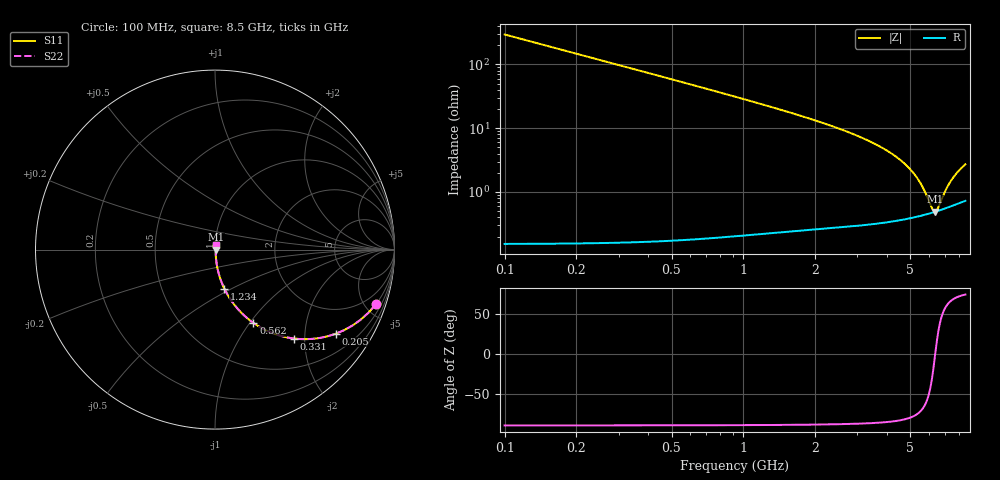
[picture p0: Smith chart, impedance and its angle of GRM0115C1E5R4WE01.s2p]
!Murata Part Number: GRM0115C1E5R4WE01
!These Parameters are Measured in Series Mode Connection
!Data Generated on Mar 30, 2021
!  o--ll--o
!Port1  Port2
!  o------o
!Operation Temp=25[degC], DC Bias Voltage=0[V]
!Freq. Start=100[MHz] Stop=9[GHz] 401[Steps]
# Hz S RI R 50
!Freq.(Hz) S11(Real) S11(Imag) S21(Real) S21(Imag) S12(Real) S12(Imag) S22(Real) S22(Imag)
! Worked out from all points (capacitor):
!   401 points, 100 MHz to 8.5 GHz, reference 50 ohm
!   read as one part in series: C = 5.4 pF near 142 MHz
!   lowest |Z| = 489 mohm at 6.337 GHz (marker M1)
!   series resonance near 6.355 GHz, so ESL is about 120 pH
!   S11 on the Smith chart (normalised r, x): 100 MHz: 1.00, -5.89; 205 MHz: 1.00, -2.87; 331 MHz: 1.00, -1.78; 562 MHz: 1.00, -1.04; 1.234 GHz: 1.00, -0.46; 8.5 GHz: 1.01, +0.05
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1e8  0.8966 -0.3042  0.1034 0.3042  0.1034 0.3042  0.8966 -0.3042
1.42e8  0.8113 -0.3909  0.1887 0.3909  0.1887 0.3909  0.8113 -0.3909
2.05e8  0.6733 -0.4685  0.3267 0.4685  0.3267 0.4685  0.6733 -0.4685
2.68e8  0.5463 -0.4971  0.4537 0.4971  0.4537 0.4971  0.5463 -0.4971
3.31e8  0.4408 -0.4956  0.5592 0.4956  0.5592 0.4956  0.4408 -0.4956
4.36e8  0.3118 -0.462  0.6882 0.462  0.6882 0.462  0.3118 -0.462
5.62e8  0.2136 -0.4081  0.7864 0.4081  0.7864 0.4081  0.2136 -0.4081
8.35e8  0.1085 -0.3082  0.8915 0.3082  0.8915 0.3082  0.1085 -0.3082
1.234e9  0.0518 -0.2169  0.9482 0.2169  0.9482 0.2169  0.0518 -0.2169
1.507e9  0.0349 -0.1772  0.9651 0.1772  0.9651 0.1772  0.0349 -0.1772
2.095e9  0.0179 -0.1224  0.9821 0.1224  0.9821 0.1224  0.0179 -0.1224
2.914e9  0.00914 -0.0785  0.9909 0.0785  0.9909 0.0785  0.00914 -0.0785
4.3e9  0.00483 -0.0366  0.9952 0.0366  0.9952 0.0366  0.00483 -0.0366
5.119e9  0.00434 -0.0199  0.9957 0.0199  0.9957 0.0199  0.00434 -0.0199
5.434e9  0.00435 -0.0143  0.9956 0.0143  0.9956 0.0143  0.00435 -0.0143
5.707e9  0.00444 -0.00978  0.9956 0.00978  0.9956 0.00978  0.00444 -0.00978
6.148e9  0.0047 -0.00299  0.9953 0.00299  0.9953 0.00299  0.0047 -0.00299
6.337e9  0.00486 -0.00025  0.9951 0.00025  0.9951 0.00025  0.00486 -0.00025
6.505e9  0.00502 0.00211  0.995 -0.00211  0.995 -0.00211  0.00502 0.00211
7.114e9  0.00572 0.0101  0.9943 -0.0101  0.9943 -0.0101  0.00572 0.0101
7.723e9  0.0066 0.0174  0.9934 -0.0174  0.9934 -0.0174  0.0066 0.0174
8.5e9  0.00789 0.0257  0.9921 -0.0257  0.9921 -0.0257  0.00789 0.0257
